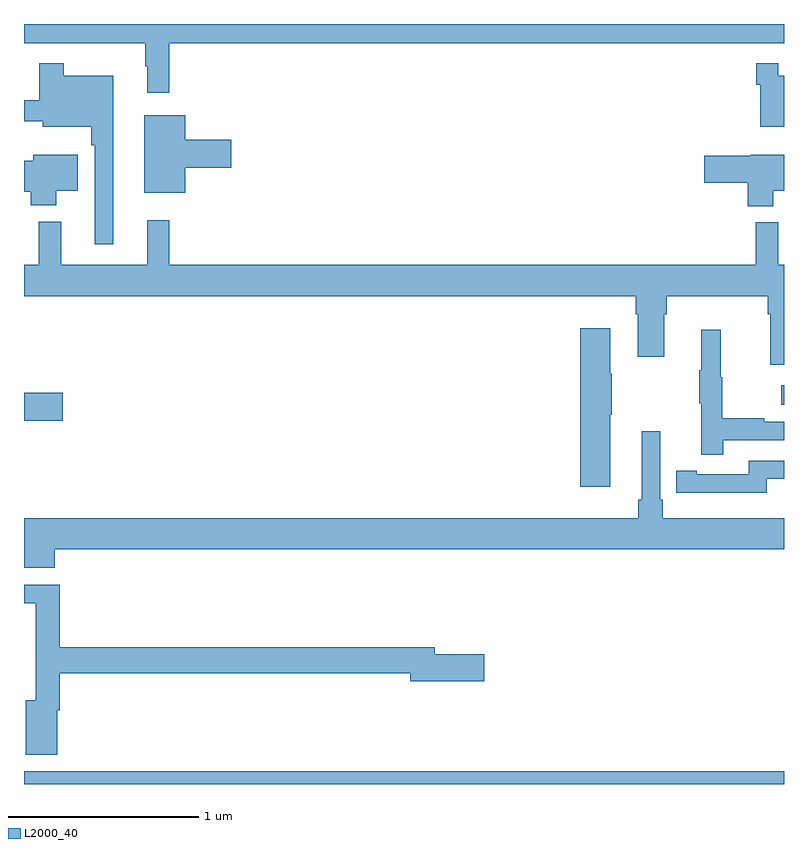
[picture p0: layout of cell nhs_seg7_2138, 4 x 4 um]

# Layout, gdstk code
import gdstk
lib = gdstk.Library(unit=1e-6, precision=1e-09)
def R(c, l, rs):  # rectangles x0, y0, x1, y1
    for r in rs: c.add(gdstk.rectangle(r[:2], r[2:], *l))
def P(c, l, *ps):  # polygons
    for p in ps: c.add(gdstk.Polygon(p, *l))
L2000_40 = (2000, 40)

nhs_seg7_2138 = lib.new_cell('nhs_seg7_2138')
R(nhs_seg7_2138, L2000_40, [(251,1046,255,1046.068), (251,1047.911,251.203,1048.058), (254.985,1047.995,255,1048.099)])
P(nhs_seg7_2138, L2000_40, [(251.765,1049.9),(255,1049.9),(255,1050),(251,1050),(251,1049.9),(251.637,1049.9),(251.637,1049.777),(251.648,1049.777),(251.648,1049.637),(251.765,1049.637)],
  [(255,1049.728),(254.97,1049.728),(254.97,1049.794),(254.854,1049.794),(254.854,1049.681),(254.874,1049.681),(254.874,1049.459),(255,1049.459)],
  [(251.47,1049.728),(251.209,1049.728),(251.209,1049.794),(251.08,1049.794),(251.08,1049.599),(251,1049.599),(251,1049.489),(251.099,1049.489),(251.099,1049.459),(251.353,1049.459),(251.353,1049.363),(251.373,1049.363),(251.373,1048.842),(251.47,1048.842)],
  [(251.848,1049.243),(252.091,1049.243),(252.091,1049.39),(251.848,1049.39),(251.848,1049.521),(251.633,1049.521),(251.633,1049.111),(251.848,1049.111)],
  [(254.944,1049.123),(255,1049.123),(255,1049.311),(254.826,1049.311),(254.826,1049.306),(254.58,1049.306),(254.58,1049.164),(254.81,1049.164),(254.81,1049.042),(254.944,1049.042)],
  [(251.17,1049.123),(251.284,1049.123),(251.284,1049.311),(251.048,1049.311),(251.048,1049.281),(251,1049.281),(251,1049.116),(251.036,1049.116),(251.036,1049.045),(251.17,1049.045)],
  [(255,1048.732),(254.969,1048.732),(254.969,1048.957),(254.851,1048.957),(254.851,1048.732),(251.765,1048.732),(251.765,1048.966),(251.648,1048.966),(251.648,1048.732),(251.195,1048.732),(251.195,1048.96),(251.077,1048.96),(251.077,1048.732),(251,1048.732),(251,1048.568),(254.219,1048.568),(254.219,1048.472),(254.231,1048.472),(254.231,1048.248),(254.371,1048.248),(254.371,1048.472),(254.384,1048.472),(254.384,1048.568),(254.915,1048.568),(254.915,1048.472),(254.927,1048.472),(254.927,1048.206),(255,1048.206)],
  [(254.086,1047.943),(254.094,1047.943),(254.094,1048.16),(254.086,1048.16),(254.086,1048.399),(253.928,1048.399),(253.928,1047.564),(254.086,1047.564)],
  [(254.681,1047.81),(255,1047.81),(255,1047.906),(254.897,1047.906),(254.897,1047.926),(254.674,1047.926),(254.674,1048.14),(254.666,1048.14),(254.666,1048.39),(254.564,1048.39),(254.564,1048.177),(254.553,1048.177),(254.553,1048.003),(254.564,1048.003),(254.564,1047.732),(254.681,1047.732)],
  [(251.162,1047.236),(255,1047.236),(255,1047.4),(254.363,1047.4),(254.363,1047.496),(254.349,1047.496),(254.349,1047.856),(254.252,1047.856),(254.252,1047.496),(254.233,1047.496),(254.233,1047.4),(251,1047.4),(251,1047.137),(251.162,1047.137)],
  [(254.91,1047.606),(255,1047.606),(255,1047.702),(254.814,1047.702),(254.814,1047.63),(254.542,1047.63),(254.542,1047.65),(254.434,1047.65),(254.434,1047.534),(254.542,1047.534),(254.542,1047.533),(254.91,1047.533)],
  [(251.176,1046.387),(251.189,1046.387),(251.189,1046.584),(253.034,1046.584),(253.034,1046.542),(253.423,1046.542),(253.423,1046.684),(253.162,1046.684),(253.162,1046.72),(251.189,1046.72),(251.189,1047.05),(251,1047.05),(251,1046.952),(251.063,1046.952),(251.063,1046.44),(251.009,1046.44),(251.009,1046.154),(251.176,1046.154)])

lib.write_gds('nhs_seg7_2138.gds')
